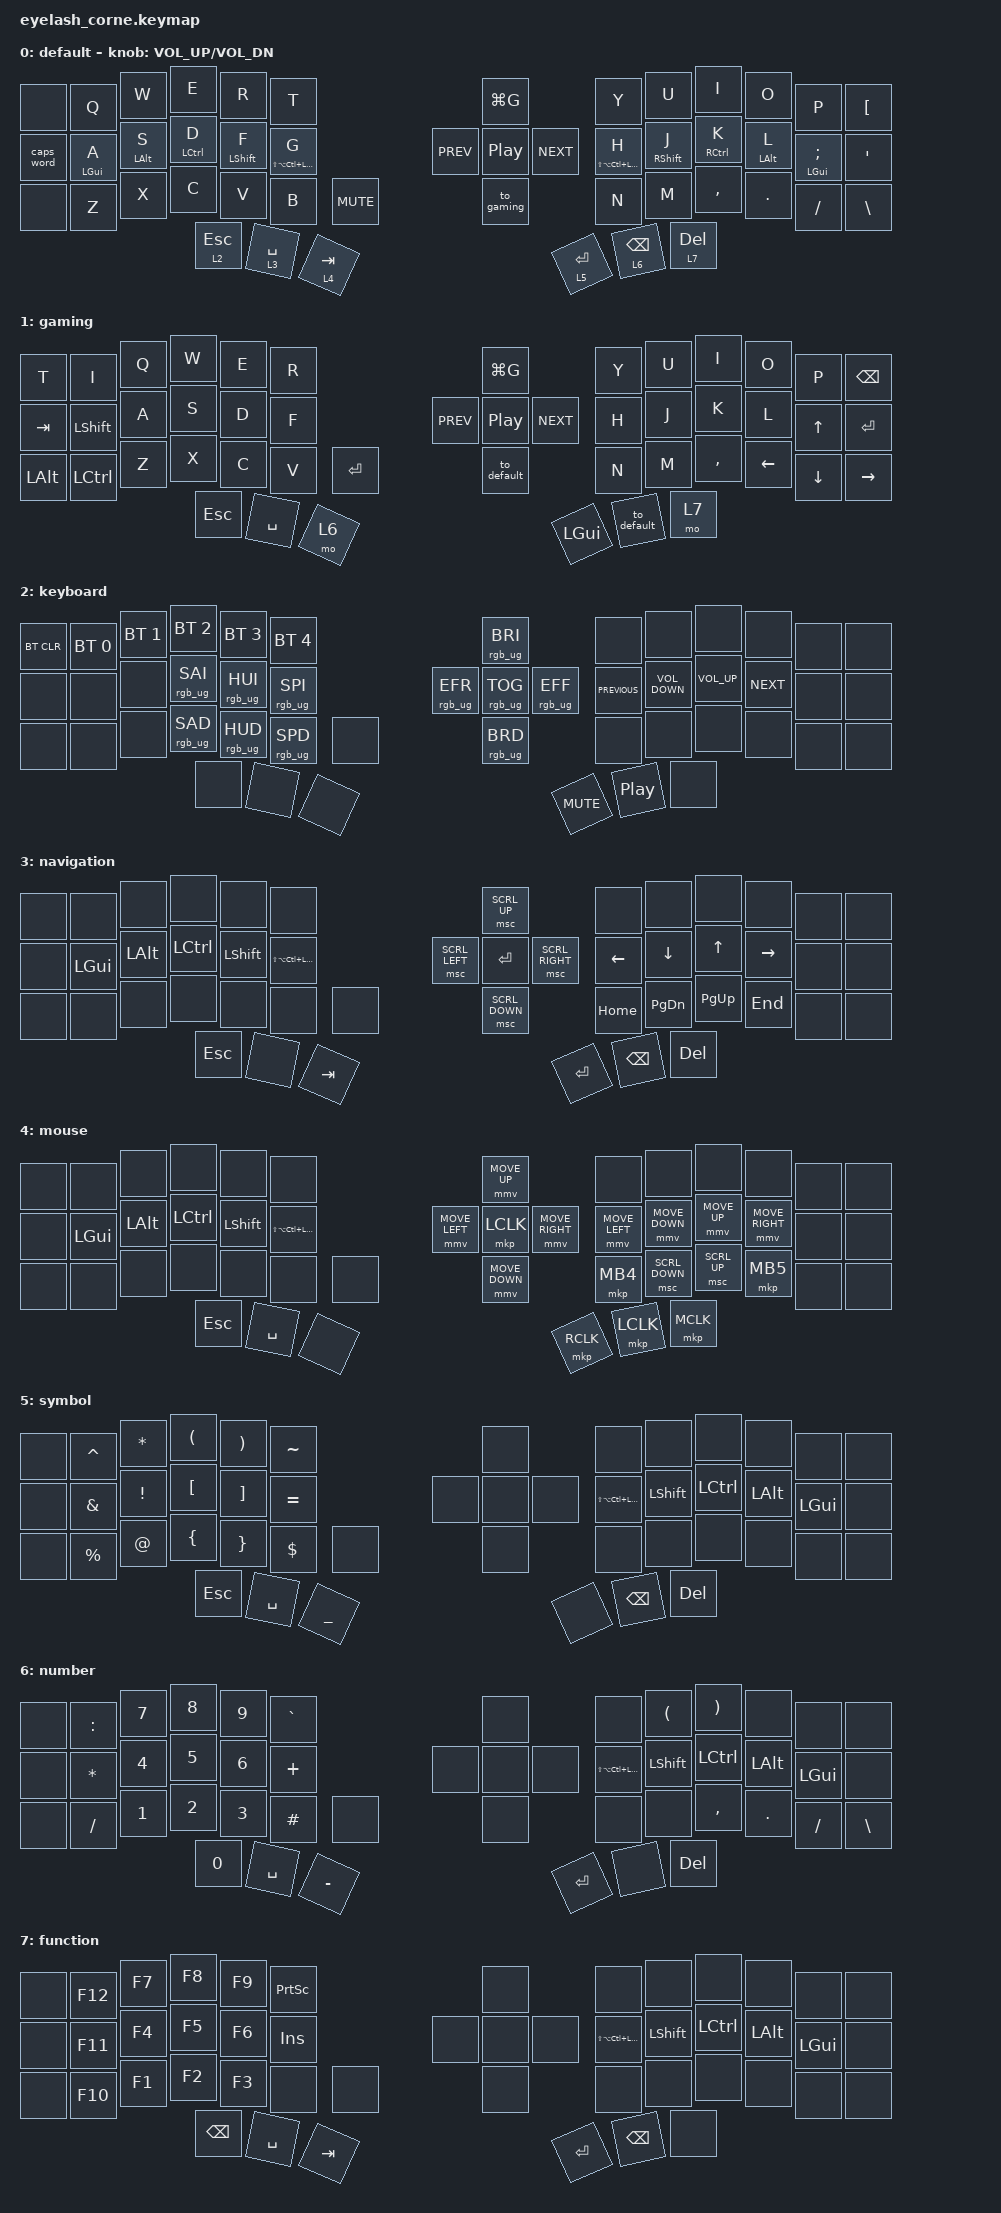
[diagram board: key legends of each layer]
#define ZMK_POINTING_DEFAULT_MOVE_VAL 1200  // 600
#define ZMK_POINTING_DEFAULT_SCRL_VAL 25   // 10

#include <input/processors.dtsi>
#include <zephyr/dt-bindings/input/input-event-codes.h>
#include <behaviors.dtsi>
#include <dt-bindings/zmk/bt.h>
#include <dt-bindings/zmk/keys.h>
#include <dt-bindings/zmk/pointing.h>
#include <dt-bindings/zmk/rgb.h>

&mmv_input_listener { input-processors = <&zip_xy_scaler 2 1>; };

&msc_input_listener { input-processors = <&zip_scroll_scaler 2 1>; };

&msc {
    acceleration-exponent = <1>;      // 0
    time-to-max-speed-ms = <100>;       // 300
    delay-ms = <0>;                   // 0
};

&mmv {
    time-to-max-speed-ms = <500>;
    acceleration-exponent = <1>;
    trigger-period-ms = <16>;
};

&soft_off { hold-time-ms = <2000>; };

&lt { tapping-term-ms = <200>; };

&caps_word { continue-list = <UNDERSCORE BACKSPACE DELETE MINUS>; };

/ {
    behaviors {
        // Behavior can be invoked on peripherals, so name must be <= 8 characters.
        gleds: gleds {
            compatible = "zmk,behavior-gaming-leds";
            #binding-cells = <1>;
        };

        mtl: mtl {
            compatible = "zmk,behavior-hold-tap";
            label = "MTL";
            bindings = <&kp>, <&kp>;

            #binding-cells = <2>;
            tapping-term-ms = <200>;
            quick-tap-ms = <150>;
            require-prior-idle-ms = <0>;
            hold-trigger-key-positions = <6 7 8 9 10 11 12 19 20 21 22 23 24 25 26 27 34 35 36 37 38 39 40 41 42 43 44 45 46 47>;
            hold-trigger-on-release;
            flavor = "balanced";
        };

        mtr: mtr {
            compatible = "zmk,behavior-hold-tap";
            label = "MTR";
            bindings = <&kp>, <&kp>;

            #binding-cells = <2>;
            tapping-term-ms = <200>;
            quick-tap-ms = <150>;
            require-prior-idle-ms = <0>;
            hold-trigger-key-positions = <0 1 2 3 4 5 6 13 14 15 16 17 18 19 20 21 28 29 30 31 32 33 34 35 42 43 44 45 46 47>;
            hold-trigger-on-release;
            flavor = "balanced";
        };
    };

    macros {
        to_gaming: to_gaming {
            compatible = "zmk,behavior-macro";
            #binding-cells = <0>;
            bindings = <&rgb_ug RGB_OFF &gleds 1 &to 1>;
        };

        to_default: to_default {
            compatible = "zmk,behavior-macro";
            #binding-cells = <0>;
            bindings = <&rgb_ug RGB_OFF &gleds 0 &to 0>;
        };
    };

    rgb_encoder: rgb_encoder {
        compatible = "zmk,behavior-sensor-rotate";
        #sensor-binding-cells = <0>;
        bindings = <&rgb_ug RGB_BRI>, <&rgb_ug RGB_BRD>;
    };

    scroll_encoder: scroll_encoder {
        compatible = "zmk,behavior-sensor-rotate";
        #sensor-binding-cells = <0>;
        bindings = <&msc SCRL_DOWN>, <&msc SCRL_UP>;

        tap-ms = <100>;
    };

    combos {
        compatible = "zmk,combos";

        toggle-num-layer {
            bindings = <&tog 6>;
            key-positions = <28 43>;
        };

        softoff {
            bindings = <&soft_off>;
            key-positions = <1 15 29>;
        };
    };

    keymap {
        compatible = "zmk,keymap";

        default {
            bindings = <
&none       &kp Q        &kp W        &kp E         &kp R         &kp T                                              &kp LG(G)                     &kp Y                    &kp U            &kp I         &kp O            &kp P           &kp LBKT
&caps_word  &mtl LGUI A  &mtl LALT S  &mtl LCTRL D  &mtl LSHFT F  &mtl LS(LA(LC(LGUI))) G                &kp C_PREV  &kp C_PLAY_PAUSE  &kp C_NEXT  &mtr LS(LA(LC(LGUI))) H  &mtr RSHFT J     &mtr RCTRL K  &mtr LEFT_ALT L  &mtr LGUI SEMI  &kp SQT
&none       &kp Z        &kp X        &kp C         &kp V         &kp B                    &kp C_MUTE                &to_gaming                    &kp N                    &kp M            &kp COMMA     &kp DOT          &kp FSLH        &kp BSLH
                                      &lt 2 ESC     &lt 3 SPACE   &lt 4 TAB                                                                        &lt 5 ENTER              &lt 6 BACKSPACE  &lt 7 DEL
            >;

            sensor-bindings = <&inc_dec_kp C_VOLUME_UP C_VOL_DN>;
        };

        gaming {
            bindings = <
&kp T     &kp I      &kp Q  &kp W    &kp E      &kp R                           &kp LG(G)              &kp Y     &kp U        &kp I      &kp O     &kp P     &kp BSPC
&kp TAB   &kp LSHFT  &kp A  &kp S    &kp D      &kp F               &kp C_PREV  &kp C_PP   &kp C_NEXT  &kp H     &kp J        &kp K      &kp L     &kp UP    &kp ENTER
&kp LALT  &kp LCTRL  &kp Z  &kp X    &kp C      &kp V  &kp ENTER                &to_default            &kp N     &kp M        &kp COMMA  &kp LEFT  &kp DOWN  &kp RIGHT
                            &kp ESC  &kp SPACE  &mo 6                                                  &kp LGUI  &to_default  &mo 7
            >;
        };

        keyboard {
            bindings = <
&bt BT_CLR  &bt BT_SEL 0  &bt BT_SEL 1  &bt BT_SEL 2     &bt BT_SEL 3     &bt BT_SEL 4                               &rgb_ug RGB_BRI                   &none           &none              &none         &none       &none  &none
&none       &none         &none         &rgb_ug RGB_SAI  &rgb_ug RGB_HUI  &rgb_ug RGB_SPI           &rgb_ug RGB_EFR  &rgb_ug RGB_TOG  &rgb_ug RGB_EFF  &kp C_PREVIOUS  &kp C_VOLUME_DOWN  &kp C_VOL_UP  &kp C_NEXT  &none  &none
&none       &none         &none         &rgb_ug RGB_SAD  &rgb_ug RGB_HUD  &rgb_ug RGB_SPD  &none                     &rgb_ug RGB_BRD                   &none           &none              &none         &none       &none  &none
                                        &none            &none            &none                                                                        &kp C_MUTE      &kp C_PP           &none
            >;
        };

        navigation {
            bindings = <
&none  &none     &none     &none      &none      &none                                          &msc SCRL_UP                     &none     &none      &none      &none      &none  &none
&none  &kp LGUI  &kp LALT  &kp LCTRL  &kp LSHFT  &kp LS(LA(LC(LGUI)))           &msc SCRL_LEFT  &kp RET         &msc SCRL_RIGHT  &kp LEFT  &kp DOWN   &kp UP     &kp RIGHT  &none  &none
&none  &none     &none     &none      &none      &none                 &none                    &msc SCRL_DOWN                   &kp HOME  &kp PG_DN  &kp PG_UP  &kp END    &none  &none
                           &kp ESC    &none      &kp TAB                                                                         &kp RET   &kp BSPC   &kp DEL
            >;
        };

        mouse {
            bindings = <
&none  &none     &none     &none      &none      &none                                          &mmv MOVE_UP                     &none           &none           &none         &none            &none  &none
&none  &kp LGUI  &kp LALT  &kp LCTRL  &kp LSHFT  &kp LS(LA(LC(LGUI)))           &mmv MOVE_LEFT  &mkp LCLK       &mmv MOVE_RIGHT  &mmv MOVE_LEFT  &mmv MOVE_DOWN  &mmv MOVE_UP  &mmv MOVE_RIGHT  &none  &none
&none  &none     &none     &none      &none      &none                 &none                    &mmv MOVE_DOWN                   &mkp MB4        &msc SCRL_DOWN  &msc SCRL_UP  &mkp MB5         &none  &none
                           &kp ESC    &kp SPACE  &none                                                                           &mkp RCLK       &mkp LCLK       &mkp MCLK
            >;
        };

        symbol {
            bindings = <
&none  &kp CARET  &kp STAR  &kp LPAR  &kp RPAR   &kp TILDE                  &none         &none                 &none      &none      &none     &none     &none
&none  &kp AMPS   &kp EXCL  &kp LBKT  &kp RBKT   &kp EQUAL           &none  &none  &none  &kp LS(LA(LC(LGUI)))  &kp LSHFT  &kp LCTRL  &kp LALT  &kp LGUI  &none
&none  &kp PRCNT  &kp AT    &kp LBRC  &kp RBRC   &kp DLLR   &none           &none         &none                 &none      &none      &none     &none     &none
                            &kp ESC   &kp SPACE  &kp UNDER                                &none                 &kp BSPC   &kp DEL
            >;
        };

        number {
            bindings = <
&none  &kp COLON  &kp N7  &kp N8  &kp N9     &kp GRAVE                  &none         &none                 &kp LPAR   &kp RPAR   &none     &none     &none
&none  &kp STAR   &kp N4  &kp N5  &kp N6     &kp PLUS            &none  &none  &none  &kp LS(LA(LC(LGUI)))  &kp LSHFT  &kp LCTRL  &kp LALT  &kp LGUI  &none
&none  &kp FSLH   &kp N1  &kp N2  &kp N3     &kp POUND  &none           &none         &none                 &none      &kp COMMA  &kp DOT   &kp FSLH  &kp BSLH
                          &kp N0  &kp SPACE  &kp MINUS                                &kp RET               &none      &kp DEL
            >;
        };

        function {
            bindings = <
&none  &kp F12  &kp F7  &kp F8    &kp F9     &kp PRINTSCREEN                  &none         &none                 &none      &none      &none     &none     &none
&none  &kp F11  &kp F4  &kp F5    &kp F6     &kp INSERT                &none  &none  &none  &kp LS(LA(LC(LGUI)))  &kp LSHFT  &kp LCTRL  &kp LALT  &kp LGUI  &none
&none  &kp F10  &kp F1  &kp F2    &kp F3     &none            &none           &none         &none                 &none      &none      &none     &none     &none
                        &kp BSPC  &kp SPACE  &kp TAB                                        &kp RET               &kp BSPC   &none
            >;
        };
    };
};
